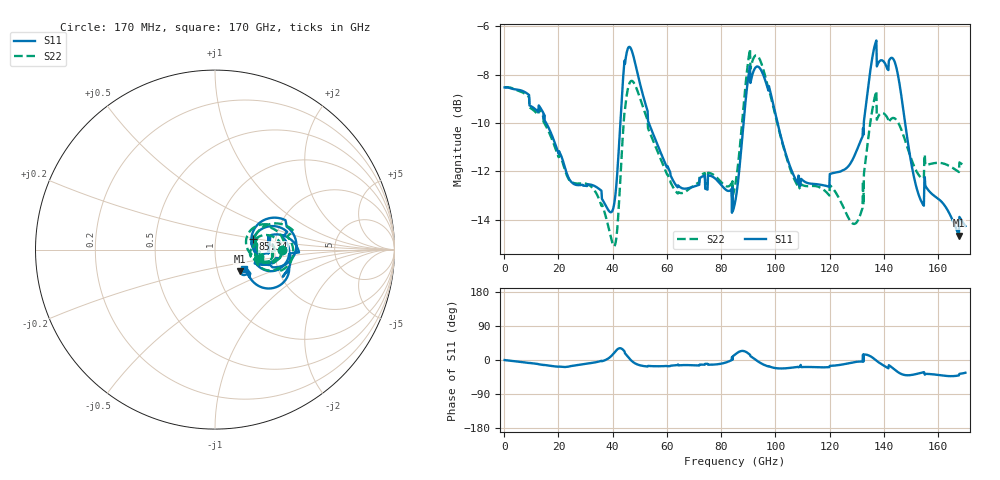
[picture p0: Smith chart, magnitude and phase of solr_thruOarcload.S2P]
# GHz S RI R 50
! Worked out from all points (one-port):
!   1000 points, 170 MHz to 170 GHz, reference 50 ohm
!   lowest |S11| = -14.7 dB at 167.6 GHz (marker M1), VSWR 1.45, Z = 64.1 - j16 ohm
!   |S11| at or under -10 dB: 15.49 GHz to 42.81 GHz (27.31 GHz wide, 93.7 % of centre); 53.32 GHz to 88.23 GHz (34.91 GHz wide, 49.3 % of centre); 100.7 GHz to 132.6 GHz (31.84 GHz wide, 27.3 % of centre)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
!   S11 on the Smith chart (normalised r, x): 170 MHz: 2.20, -0.00; 85.34 GHz: 1.52, +0.19; 170 GHz: 1.35, -0.30
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0.17  0.3746 -0.000854  0 0  0 0  0.3745 -0.000762
28.56  0.2307 -0.0473  0 0  0 0  0.2338 -0.0404
39.78  0.2027 0.045  0 0  0 0  0.1791 0.00793
43.52  0.3231 0.1778  0 0  0 0  0.2493 0.1379
45.9  0.4514 0.0465  0 0  0 0  0.3707 0.0738
48.79  0.4015 -0.0769  0 0  0 0  0.3715 -0.0322
56.78  0.2711 -0.0804  0 0  0 0  0.2662 -0.0657
79.05  0.2345 -0.0451  0 0  0 0  0.2413 -0.0155
85.17  0.2104 0.0556  0 0  0 0  0.2236 0.0741
85.34  0.2121 0.0598  0 0  0 0  0.2255 0.0782
89.25  0.3392 0.1297  0 0  0 0  0.3662 0.1432
93.16  0.4136 -0.0128  0 0  0 0  0.4354 -0.0251
99.11  0.3254 -0.1193  0 0  0 0  0.3233 -0.1152
113.39  0.2245 -0.0755  0 0  0 0  0.2307 -0.0415
129.54  0.273 -0.0241  0 0  0 0  0.1957 -0.0119
133.62  0.3449 0.0848  0 0  0 0  0.2649 0.0792
136.34  0.4504 0.026  0 0  0 0  0.3477 0.0567
141.78  0.4129 -0.0995  0 0  0 0  0.3173 0.000701
146.2  0.2949 -0.2167  0 0  0 0  0.3014 -0.0649
153.51  0.1811 -0.1236  0 0  0 0  0.2401 -0.0449
167.62  0.1405 -0.1203  0 0  0 0  0.2436 -0.0579
170  0.1612 -0.1073  0 0  0 0  0.2522 -0.0503
